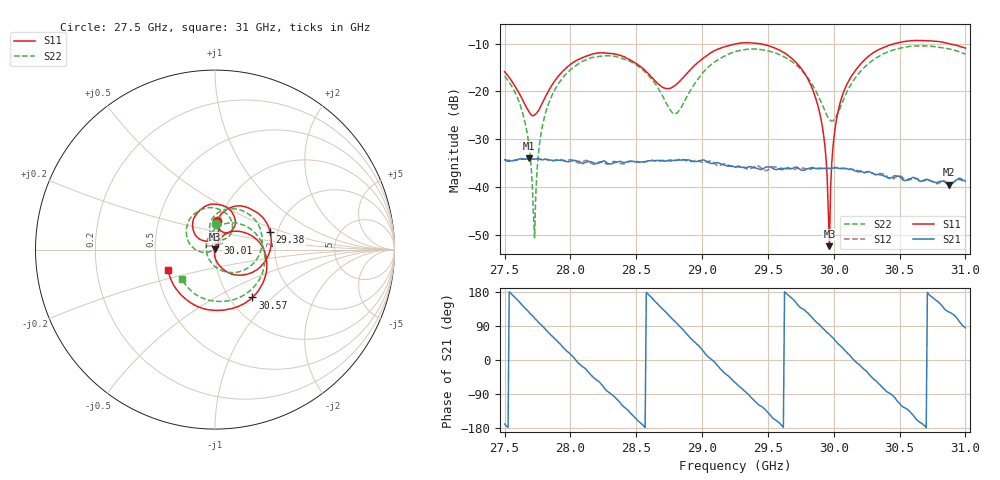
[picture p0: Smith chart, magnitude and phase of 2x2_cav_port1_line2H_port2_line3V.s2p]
!Created with skrf (http://scikit-rf.org).
# GHz S RI R 50.0
!freq ReS11 ImS11 ReS21 ImS21 ReS12 ImS12 ReS22 ImS22
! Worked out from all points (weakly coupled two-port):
!   401 points, 27.5 GHz to 31 GHz, reference 50 ohm
!   highest |S21| = -34.03 dB at 27.68 GHz (marker M1); lowest = -39.5 dB at 30.88 GHz (marker M2)
!   lowest |S11| = -52.4 dB at 29.97 GHz (marker M3), VSWR 1.00, Z = 50 + j0.237 ohm
!   |S11| at or under -10 dB: start of sweep to 29.26 GHz; 29.44 GHz to 30.46 GHz (1.018 GHz wide, 3.4 % of centre); 30.88126 GHz to end of sweep
!   |S22| runs from -50.6 to -10.4 dB; largest |S21 - S12| = 0.0014
!   S11 on the Smith chart (normalised r, x): 27.5 GHz: 0.97, +0.32; 29.38 GHz: 1.83, +0.40; 30.01 GHz: 1.03, +0.08; 30.57 GHz: 1.27, -0.77; 31 GHz: 0.57, -0.14
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27.5  0.00962 0.1607  -0.0188 -0.00369  -0.0188 -0.00407  0.00832 0.1448
27.61375  0.0176 0.0923  -0.0174 0.00908  -0.0172 0.00898  0.0345 0.0667
27.68375  -0.00435 0.0615  -0.0119 0.0159  -0.0119 0.0159  0.0182 0.0218
27.7275  -0.0262 0.0501  -0.00679 0.0182  -0.00691 0.0184  -0.0026 0.00138
27.77125  -0.0495 0.0471  -0.00143 0.0193  -0.00146 0.0195  -0.0303 -0.012
27.82375  -0.0784 0.0545  0.00475 0.0188  0.00498 0.0186  -0.0663 -0.0155
28.08625  -0.102 0.1997  0.0171 -0.00489  0.0173 -0.00436  -0.1558 0.1322
28.41875  0.0958 0.2054  -0.0109 -0.0144  -0.0102 -0.0145  0.0506 0.2095
28.6725  0.0722 0.0933  -0.0152 0.011  -0.0154 0.0109  0.076 0.0723
28.80375  0.0238 0.1157  -0.0027 0.0189  -0.00295 0.0187  0.0117 0.0576
29.25  0.2404 0.2021  0.00816 -0.0139  0.00844 -0.0136  0.1367 0.2222
29.38125  0.3066 0.0987  -0.00321 -0.0158  -0.0024 -0.0156  0.2332 0.1525
29.6525  0.2005 -0.13  -0.0153 0.00226  -0.0157 0.00258  0.1991 -0.0902
29.83625  0.0362 -0.1017  -0.00591 0.0148  -0.006 0.0144  0.0311 -0.1142
29.915  -0.000307 -0.0415  0.00153 0.0155  0.0015 0.0154  -0.0248 -0.0667
29.9675  -0.000302 0.00237  0.00609 0.0143  0.00617 0.0143  -0.0454 -0.0225
30.01125  0.0145 0.0391  0.00999 0.0124  0.00973 0.0123  -0.0491 0.0181
30.13375  0.1017 0.1017  0.0152 0.00202  0.0152 0.00227  0.0068 0.1201
30.4225  0.2886 -0.0996  0.000542 -0.0124  -0.000116 -0.0123  0.2608 0.0372
30.57125  0.2088 -0.2667  -0.00838 -0.00877  -0.00838 -0.00826  0.2613 -0.1387
30.8775  -0.1788 -0.2619  -0.00628 0.00846  -0.00632 0.00884  -0.0696 -0.2699
31  -0.2614 -0.1118  0.00104 0.0114  0.000701 0.0113  -0.1854 -0.1624
